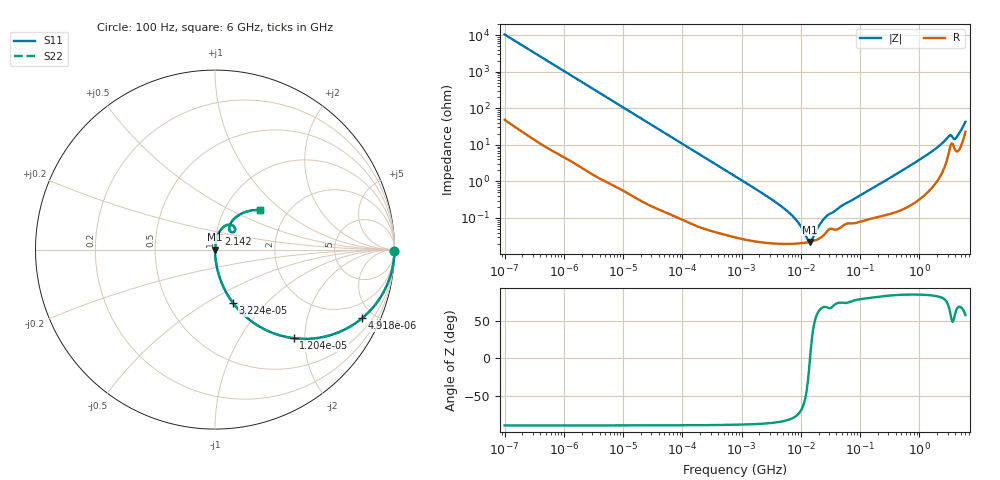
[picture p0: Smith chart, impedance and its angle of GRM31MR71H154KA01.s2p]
!Murata Part Number: GRM31MR71H154KA01
!These Parameters are Measured in Series Mode Connection
!Data Generated on Mar 30, 2021
!  o--ll--o
!Port1  Port2
!  o------o
!Operation Temp=25[degC], DC Bias Voltage=0[V]
!Freq. Start=100[Hz] Stop=6[GHz] 401[Steps]
# Hz S RI R 50
!Freq.(Hz) S11(Real) S11(Imag) S21(Real) S21(Imag) S12(Real) S12(Imag) S22(Real) S22(Imag)
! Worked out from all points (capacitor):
!   401 points, 100 Hz to 6 GHz, reference 50 ohm
!   read as one part in series: C = 152 nF near 109 Hz
!   lowest |Z| = 22.2 mohm at 14.22 MHz (marker M1)
!   series resonance near 14.3 MHz, so ESL is about 820 pH
!   S11 on the Smith chart (normalised r, x): 100 Hz: open; 4.918 kHz: 1.02, -4.31; 12.04 kHz: 1.01, -1.76; 32.24 kHz: 1.00, -0.66; 2.142 GHz: 1.02, +0.18; 6 GHz: 1.45, +0.72
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100  0.9999 -0.00954  0.000135 0.00954  0.000135 0.00954  0.9999 -0.00954
600  0.9965 -0.0567  0.00346 0.0567  0.00346 0.0567  0.9965 -0.0567
2008  0.9644 -0.1831  0.0356 0.1831  0.0356 0.1831  0.9644 -0.1831
4918  0.8215 -0.3806  0.1785 0.3806  0.1785 0.3806  0.8215 -0.3806
12041  0.438 -0.4935  0.562 0.4935  0.562 0.4935  0.438 -0.4935
19704  0.227 -0.4161  0.773 0.4161  0.773 0.4161  0.227 -0.4161
32244  0.0999 -0.2968  0.9001 0.2968  0.9001 0.2968  0.0999 -0.2968
40335  0.0667 -0.2463  0.9333 0.2463  0.9333 0.2463  0.0667 -0.2463
135116  0.00695 -0.0787  0.9931 0.0787  0.9931 0.0787  0.00695 -0.0787
774597  0.000488 -0.0139  0.9995 0.0139  0.9995 0.0139  0.000488 -0.0139
5809218  0.000197 -0.00157  0.9998 0.00157  0.9998 0.00157  0.000197 -0.00157
8692127  0.0002 -0.000793  0.9998 0.000793  0.9998 0.000793  0.0002 -0.000793
1.300572e7  0.000216 -0.000146  0.9998 0.000146  0.9998 0.000146  0.000216 -0.000146
1.422411e7  0.000222 -8.2e-06  0.9998 8.2e-06  0.9998 8.2e-06  0.000222 -8.2e-06
1.555665e7  0.00023 0.00013  0.9998 -0.00013  0.9998 -0.00013  0.00023 0.00013
2.128304e7  0.000285 0.000632  0.9997 -0.000632  0.9997 -0.000632  0.000285 0.000632
2.784235e7  0.000433 0.00108  0.9996 -0.00108  0.9996 -0.00108  0.000433 0.00108
3.124326e8  0.00141 0.0121  0.9986 -0.0121  0.9986 -0.0121  0.00141 0.0121
2.142435e9  0.0198 0.0887  0.9802 -0.0887  0.9802 -0.0887  0.0198 0.0887
3.205649e9  0.0866 0.1392  0.9134 -0.1392  0.9134 -0.1392  0.0866 0.1392
4.193612e9  0.0787 0.121  0.9213 -0.121  0.9213 -0.121  0.0787 0.121
6e9  0.2501 0.2211  0.7499 -0.2211  0.7499 -0.2211  0.2501 0.2211
